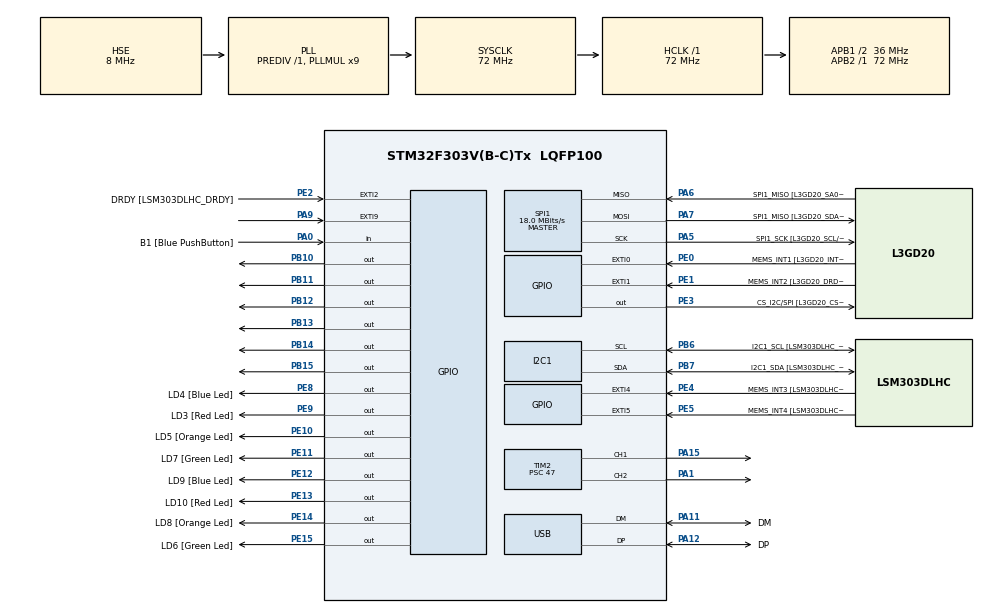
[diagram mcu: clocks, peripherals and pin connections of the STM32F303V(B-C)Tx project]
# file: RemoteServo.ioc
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I2C1.Timing-I2C=0x2000090E
Mcu.Family=STM32F3
Mcu.Name=STM32F303V(B-C)Tx
Mcu.Package=LQFP100
NVIC.EXTI9_5_IRQn=true\:0\:0\:false\:false\:true\:true\:true\:true
NVIC.PriorityGroup=NVIC_PRIORITYGROUP_0
PA0.GPIO_Label=B1 [Blue PushButton]
PA0.Signal=GPIO_Input
PA1.Signal=S_TIM2_CH2
PA11.GPIO_Label=DM
PA11.Mode=Device
PA11.Signal=USB_DM
PA12.GPIO_Label=DP
PA12.Mode=Device
PA12.Signal=USB_DP
PA13.GPIO_Label=SWDIO
PA13.Mode=Serial_Wire
PA13.Signal=SYS_JTMS-SWDIO
PA14.GPIO_Label=SWCLK
PA14.Mode=Serial_Wire
PA14.Signal=SYS_JTCK-SWCLK
PA15.Signal=S_TIM2_CH1_ETR
PA5.GPIO_Label=SPI1_SCK [L3GD20_SCL/SPC]
PA5.Mode=Full_Duplex_Master
PA5.Signal=SPI1_SCK
PA6.GPIO_Label=SPI1_MISO [L3GD20_SA0/SDO]
PA6.Mode=Full_Duplex_Master
PA6.Signal=SPI1_MISO
PA7.GPIO_Label=SPI1_MISO [L3GD20_SDA/SDI/SDO]
PA7.Mode=Full_Duplex_Master
PA7.Signal=SPI1_MOSI
PA9.Signal=GPXTI9
PB10.Signal=GPIO_Output
PB11.Signal=GPIO_Output
PB12.Signal=GPIO_Output
PB13.Signal=GPIO_Output
PB14.Signal=GPIO_Output
PB15.Signal=GPIO_Output
PB3.GPIO_Label=SWO
PB3.Signal=SYS_JTDO-TRACESWO
PB6.GPIO_Label=I2C1_SCL [LSM303DLHC_SCL]
PB6.GPIO_Pu=GPIO_PULLUP
PB6.Mode=I2C
PB6.Signal=I2C1_SCL
PB7.GPIO_Label=I2C1_SDA [LSM303DLHC_SDA]
PB7.GPIO_Pu=GPIO_PULLUP
PB7.Mode=I2C
PB7.Signal=I2C1_SDA
PC14-OSC32_IN.GPIO_Label=OSC32_IN
PC14-OSC32_IN.Signal=RCC_OSC32_IN
PC15-OSC32_OUT.GPIO_Label=OSC32_OUT
PC15-OSC32_OUT.Signal=RCC_OSC32_OUT
PE0.GPIO_Label=MEMS_INT1 [L3GD20_INT1]
PE0.GPIO_ModeDefaultEXTI=GPIO_MODE_EVT_RISING
PE0.Signal=GPXTI0
PE1.GPIO_Label=MEMS_INT2 [L3GD20_DRDY/INT2]
PE1.GPIO_ModeDefaultEXTI=GPIO_MODE_EVT_RISING
PE1.Signal=GPXTI1
PE10.GPIO_Label=LD5 [Orange Led]
PE10.Signal=GPIO_Output
PE11.GPIO_Label=LD7 [Green Led]
PE11.Signal=GPIO_Output
PE12.GPIO_Label=LD9 [Blue Led]
PE12.Signal=GPIO_Output
PE13.GPIO_Label=LD10 [Red Led]
PE13.Signal=GPIO_Output
PE14.GPIO_Label=LD8 [Orange Led]
PE14.Signal=GPIO_Output
PE15.GPIO_Label=LD6 [Green Led]
PE15.Signal=GPIO_Output
PE2.GPIO_Label=DRDY [LSM303DLHC_DRDY]
PE2.GPIO_ModeDefaultEXTI=GPIO_MODE_EVT_RISING
PE2.Signal=GPXTI2
PE3.GPIO_Label=CS_I2C/SPI [L3GD20_CS_I2C/SPI]
PE3.Signal=GPIO_Output
PE4.GPIO_Label=MEMS_INT3 [LSM303DLHC_INT1]
PE4.GPIO_ModeDefaultEXTI=GPIO_MODE_EVT_RISING
PE4.Signal=GPXTI4
PE5.GPIO_Label=MEMS_INT4 [LSM303DLHC_INT2]
PE5.GPIO_ModeDefaultEXTI=GPIO_MODE_EVT_RISING
PE5.Signal=GPXTI5
PE8.GPIO_Label=LD4 [Blue Led]
PE8.Signal=GPIO_Output
PE9.GPIO_Label=LD3 [Red Led]
PE9.Signal=GPIO_Output
PF0-OSC_IN.GPIO_Label=OSC_IN
PF0-OSC_IN.Mode=HSE-External-Oscillator
PF0-OSC_IN.Signal=RCC_OSC_IN
PF1-OSC_OUT.GPIO_Label=OSC_OUT
PF1-OSC_OUT.Mode=HSE-External-Oscillator
PF1-OSC_OUT.Signal=RCC_OSC_OUT
ProjectManager.HeapSize=0x200
ProjectManager.StackSize=0x400
ProjectManager.TargetToolchain=STM32CubeIDE
RCC.AHBFreq_Value=72000000
RCC.APB1CLKDivider=RCC_HCLK_DIV2
RCC.APB1Freq_Value=36000000
RCC.APB1TimFreq_Value=72000000
RCC.APB2Freq_Value=72000000
RCC.APB2TimFreq_Value=72000000
RCC.CortexFreq_Value=72000000
RCC.HCLKFreq_Value=72000000
RCC.HSE_VALUE=8000000
RCC.HSI_VALUE=8000000
RCC.LSE_VALUE=32768
RCC.PLLMUL=RCC_PLL_MUL9
RCC.PRESCALERUSB=RCC_USBCLKSOURCE_PLL_DIV1_5
RCC.SYSCLKFreq_VALUE=72000000
RCC.SYSCLKSourceVirtual=RCC_SYSCLKSOURCE_PLLCLK
RCC.USBFreq_Value=48000000
SH.S_TIM2_CH1_ETR.0=TIM2_CH1,PWM Generation1 CH1
SH.S_TIM2_CH2.0=TIM2_CH2,PWM Generation2 CH2
SPI1.BaudRatePrescaler=SPI_BAUDRATEPRESCALER_4
SPI1.BaudRatePrescaler-Full_Duplex_Master=SPI_BAUDRATEPRESCALER_2
SPI1.CalculateBaudRate=18.0 MBits/s
SPI1.CalculateBaudRate-Full_Duplex_Master=24.0 MBits/s
SPI1.Direction=SPI_DIRECTION_2LINES
SPI1.Mode=SPI_MODE_MASTER
SPI1.Mode-Full_Duplex_Master=SPI_MODE_MASTER
SPI1.VirtualType=VM_MASTER
TIM1.Prescaler=71
TIM2.Channel-PWM\ Generation1\ CH1=TIM_CHANNEL_1
TIM2.Channel-PWM\ Generation2\ CH2=TIM_CHANNEL_2
TIM2.Prescaler=47
VP_TIM1_VS_ClockSourceINT.Mode=Internal
VP_TIM2_VS_ClockSourceINT.Mode=Internal
board=STM32F3DISCOVERY

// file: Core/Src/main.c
/* USER CODE BEGIN Header */
/**
  ******************************************************************************
  * @file           : main.c
  * @brief          : Main program body
  ******************************************************************************
  * @attention
  *
  * Copyright (c) 2023 STMicroelectronics.
  * All rights reserved.
  *
  * This software is licensed under terms that can be found in the LICENSE file
  * in the root directory of this software component.
  * If no LICENSE file comes with this software, it is provided AS-IS.
  *
  ******************************************************************************
  */
/* USER CODE END Header */
#include "main.h"

/* USER CODE BEGIN Includes */
#include "lcd.h"

/* USER CODE END Includes */

I2C_HandleTypeDef hi2c1;

SPI_HandleTypeDef hspi1;

TIM_HandleTypeDef htim1;
TIM_HandleTypeDef htim2;

PCD_HandleTypeDef hpcd_USB_FS;

/* USER CODE BEGIN PV */

float v[2] = {0, 0};		//used as an angular position vector for the imu
uint8_t *led_register = ((uint8_t*)&(GPIOE->ODR)) + 1;	//allows the ODR to be set by equating bitmasks to this pointer

/* USER CODE END PV */

void SystemClock_Config(void);
static void MX_GPIO_Init(void);
static void MX_I2C1_Init(void);
static void MX_SPI1_Init(void);
static void MX_USB_PCD_Init(void);
static void MX_TIM1_Init(void);
static void MX_TIM2_Init(void);

int main(void)
{

	/* MCU Configuration--------------------------------------------------------*/

	/* Reset of all peripherals, Initializes the Flash interface and the Systick. */
	HAL_Init();

	/* Configure the system clock */
	SystemClock_Config();

	/* Initialize all configured peripherals */
	MX_GPIO_Init();
	MX_I2C1_Init();
	MX_SPI1_Init();
	MX_USB_PCD_Init();
	MX_TIM1_Init();
	MX_TIM2_Init();
	/* USER CODE BEGIN 2 */

	RCC->AHBENR |= RCC_AHBENR_GPIOEEN | RCC_AHBENR_GPIODEN;
	initialise_board();

	HAL_TIM_Base_Start(&htim1);			//for the IR receiver so it can determine the parts of the radio signal that corresponds to what data
	__HAL_TIM_SET_COUNTER(&htim1, 0);

	HAL_TIM_PWM_Start(&htim2, TIM_CHANNEL_1);	//begins PWM timer channels for the servos
	HAL_TIM_PWM_Start(&htim2, TIM_CHANNEL_2);

	// TIM 2 is setup with a prescaler that makes 1 count = 1 microsecond
	// Even with HAL, you can still set the values yourself
	TIM2->ARR = 20000; // 20000 = 20ms, which is the desired clock period for servos
	TIM2->CR1 |= TIM_CR1_ARPE; // this makes the timing not change until the next pulse is finished

	/* USER CODE END 2 */

	/* Infinite loop */
	while (1)
	{

	}
}

void SystemClock_Config(void)
{
  RCC_OscInitTypeDef RCC_OscInitStruct = {0};
  RCC_ClkInitTypeDef RCC_ClkInitStruct = {0};
  RCC_PeriphCLKInitTypeDef PeriphClkInit = {0};

  /** Initializes the RCC Oscillators according to the specified parameters
  * in the RCC_OscInitTypeDef structure.
  */
  RCC_OscInitStruct.OscillatorType = RCC_OSCILLATORTYPE_HSI|RCC_OSCILLATORTYPE_HSE;
  RCC_OscInitStruct.HSEState = RCC_HSE_ON;
  RCC_OscInitStruct.HSEPredivValue = RCC_HSE_PREDIV_DIV1;
  RCC_OscInitStruct.HSIState = RCC_HSI_ON;
  RCC_OscInitStruct.HSICalibrationValue = RCC_HSICALIBRATION_DEFAULT;
  RCC_OscInitStruct.PLL.PLLState = RCC_PLL_ON;
  RCC_OscInitStruct.PLL.PLLSource = RCC_PLLSOURCE_HSE;
  RCC_OscInitStruct.PLL.PLLMUL = RCC_PLL_MUL9;
  if (HAL_RCC_OscConfig(&RCC_OscInitStruct) != HAL_OK)
  {
    Error_Handler();
  }

  /** Initializes the CPU, AHB and APB buses clocks
  */
  RCC_ClkInitStruct.ClockType = RCC_CLOCKTYPE_HCLK|RCC_CLOCKTYPE_SYSCLK
                              |RCC_CLOCKTYPE_PCLK1|RCC_CLOCKTYPE_PCLK2;
  RCC_ClkInitStruct.SYSCLKSource = RCC_SYSCLKSOURCE_PLLCLK;
  RCC_ClkInitStruct.AHBCLKDivider = RCC_SYSCLK_DIV1;
  RCC_ClkInitStruct.APB1CLKDivider = RCC_HCLK_DIV2;
  RCC_ClkInitStruct.APB2CLKDivider = RCC_HCLK_DIV1;

  if (HAL_RCC_ClockConfig(&RCC_ClkInitStruct, FLASH_LATENCY_2) != HAL_OK)
  {
    Error_Handler();
  }
  PeriphClkInit.PeriphClockSelection = RCC_PERIPHCLK_USB|RCC_PERIPHCLK_I2C1
                              |RCC_PERIPHCLK_TIM1;
  PeriphClkInit.I2c1ClockSelection = RCC_I2C1CLKSOURCE_HSI;
  PeriphClkInit.USBClockSelection = RCC_USBCLKSOURCE_PLL_DIV1_5;
  PeriphClkInit.Tim1ClockSelection = RCC_TIM1CLK_HCLK;
  if (HAL_RCCEx_PeriphCLKConfig(&PeriphClkInit) != HAL_OK)
  {
    Error_Handler();
  }
}

static void MX_I2C1_Init(void)
{

  hi2c1.Instance = I2C1;
  hi2c1.Init.Timing = 0x2000090E;
  hi2c1.Init.OwnAddress1 = 0;
  hi2c1.Init.AddressingMode = I2C_ADDRESSINGMODE_7BIT;
  hi2c1.Init.DualAddressMode = I2C_DUALADDRESS_DISABLE;
  hi2c1.Init.OwnAddress2 = 0;
  hi2c1.Init.OwnAddress2Masks = I2C_OA2_NOMASK;
  hi2c1.Init.GeneralCallMode = I2C_GENERALCALL_DISABLE;
  hi2c1.Init.NoStretchMode = I2C_NOSTRETCH_DISABLE;
  if (HAL_I2C_Init(&hi2c1) != HAL_OK)
  {
    Error_Handler();
  }

  /** Configure Analogue filter
  */
  if (HAL_I2CEx_ConfigAnalogFilter(&hi2c1, I2C_ANALOGFILTER_ENABLE) != HAL_OK)
  {
    Error_Handler();
  }

  /** Configure Digital filter
  */
  if (HAL_I2CEx_ConfigDigitalFilter(&hi2c1, 0) != HAL_OK)
  {
    Error_Handler();
  }

}

static void MX_SPI1_Init(void)
{

  /* SPI1 parameter configuration*/
  hspi1.Instance = SPI1;
  hspi1.Init.Mode = SPI_MODE_MASTER;
  hspi1.Init.Direction = SPI_DIRECTION_2LINES;
  hspi1.Init.DataSize = SPI_DATASIZE_4BIT;
  hspi1.Init.CLKPolarity = SPI_POLARITY_LOW;
  hspi1.Init.CLKPhase = SPI_PHASE_1EDGE;
  hspi1.Init.NSS = SPI_NSS_SOFT;
  hspi1.Init.BaudRatePrescaler = SPI_BAUDRATEPRESCALER_4;
  hspi1.Init.FirstBit = SPI_FIRSTBIT_MSB;
  hspi1.Init.TIMode = SPI_TIMODE_DISABLE;
  hspi1.Init.CRCCalculation = SPI_CRCCALCULATION_DISABLE;
  hspi1.Init.CRCPolynomial = 7;
  hspi1.Init.CRCLength = SPI_CRC_LENGTH_DATASIZE;
  hspi1.Init.NSSPMode = SPI_NSS_PULSE_ENABLE;
  if (HAL_SPI_Init(&hspi1) != HAL_OK)
  {
    Error_Handler();
  }

}

static void MX_TIM1_Init(void)
{

  TIM_ClockConfigTypeDef sClockSourceConfig = {0};
  TIM_MasterConfigTypeDef sMasterConfig = {0};

  htim1.Instance = TIM1;
  htim1.Init.Prescaler = 71;
  htim1.Init.CounterMode = TIM_COUNTERMODE_UP;
  htim1.Init.Period = 65535;
  htim1.Init.ClockDivision = TIM_CLOCKDIVISION_DIV1;
  htim1.Init.RepetitionCounter = 0;
  htim1.Init.AutoReloadPreload = TIM_AUTORELOAD_PRELOAD_DISABLE;
  if (HAL_TIM_Base_Init(&htim1) != HAL_OK)
  {
    Error_Handler();
  }
  sClockSourceConfig.ClockSource = TIM_CLOCKSOURCE_INTERNAL;
  if (HAL_TIM_ConfigClockSource(&htim1, &sClockSourceConfig) != HAL_OK)
  {
    Error_Handler();
  }
  sMasterConfig.MasterOutputTrigger = TIM_TRGO_RESET;
  sMasterConfig.MasterOutputTrigger2 = TIM_TRGO2_RESET;
  sMasterConfig.MasterSlaveMode = TIM_MASTERSLAVEMODE_DISABLE;
  if (HAL_TIMEx_MasterConfigSynchronization(&htim1, &sMasterConfig) != HAL_OK)
  {
    Error_Handler();
  }

}

static void MX_TIM2_Init(void)
{

  TIM_ClockConfigTypeDef sClockSourceConfig = {0};
  TIM_MasterConfigTypeDef sMasterConfig = {0};
  TIM_OC_InitTypeDef sConfigOC = {0};

  htim2.Instance = TIM2;
  htim2.Init.Prescaler = 47;
  htim2.Init.CounterMode = TIM_COUNTERMODE_UP;
  htim2.Init.Period = 4294967295;
  htim2.Init.ClockDivision = TIM_CLOCKDIVISION_DIV1;
  htim2.Init.AutoReloadPreload = TIM_AUTORELOAD_PRELOAD_DISABLE;
  if (HAL_TIM_Base_Init(&htim2) != HAL_OK)
  {
    Error_Handler();
  }
  sClockSourceConfig.ClockSource = TIM_CLOCKSOURCE_INTERNAL;
  if (HAL_TIM_ConfigClockSource(&htim2, &sClockSourceConfig) != HAL_OK)
  {
    Error_Handler();
  }
  if (HAL_TIM_PWM_Init(&htim2) != HAL_OK)
  {
    Error_Handler();
  }
  sMasterConfig.MasterOutputTrigger = TIM_TRGO_RESET;
  sMasterConfig.MasterSlaveMode = TIM_MASTERSLAVEMODE_DISABLE;
  if (HAL_TIMEx_MasterConfigSynchronization(&htim2, &sMasterConfig) != HAL_OK)
  {
    Error_Handler();
  }
  sConfigOC.OCMode = TIM_OCMODE_PWM1;
  sConfigOC.Pulse = 0;
  sConfigOC.OCPolarity = TIM_OCPOLARITY_HIGH;
  sConfigOC.OCFastMode = TIM_OCFAST_DISABLE;
  if (HAL_TIM_PWM_ConfigChannel(&htim2, &sConfigOC, TIM_CHANNEL_1) != HAL_OK)
  {
    Error_Handler();
  }
  if (HAL_TIM_PWM_ConfigChannel(&htim2, &sConfigOC, TIM_CHANNEL_2) != HAL_OK)
  {
    Error_Handler();
  }
  HAL_TIM_MspPostInit(&htim2);

}

static void MX_USB_PCD_Init(void)
{

  hpcd_USB_FS.Instance = USB;
  hpcd_USB_FS.Init.dev_endpoints = 8;
  hpcd_USB_FS.Init.speed = PCD_SPEED_FULL;
  hpcd_USB_FS.Init.phy_itface = PCD_PHY_EMBEDDED;
  hpcd_USB_FS.Init.low_power_enable = DISABLE;
  hpcd_USB_FS.Init.battery_charging_enable = DISABLE;
  if (HAL_PCD_Init(&hpcd_USB_FS) != HAL_OK)
  {
    Error_Handler();
  }

}

static void MX_GPIO_Init(void)
{
  GPIO_InitTypeDef GPIO_InitStruct = {0};

  /* GPIO Ports Clock Enable */
  __HAL_RCC_GPIOE_CLK_ENABLE();
  __HAL_RCC_GPIOC_CLK_ENABLE();
  __HAL_RCC_GPIOF_CLK_ENABLE();
  __HAL_RCC_GPIOA_CLK_ENABLE();
  __HAL_RCC_GPIOB_CLK_ENABLE();

  /*Configure GPIO pin Output Level */
  HAL_GPIO_WritePin(GPIOE, CS_I2C_SPI_Pin|LD4_Pin|LD3_Pin|LD5_Pin
                          |LD7_Pin|LD9_Pin|LD10_Pin|LD8_Pin
                          |LD6_Pin, GPIO_PIN_RESET);

  /*Configure GPIO pin Output Level */
  HAL_GPIO_WritePin(GPIOB, GPIO_PIN_10|GPIO_PIN_11|GPIO_PIN_12|GPIO_PIN_13
                          |GPIO_PIN_14|GPIO_PIN_15, GPIO_PIN_RESET);

  /*Configure GPIO pins : DRDY_Pin MEMS_INT3_Pin MEMS_INT4_Pin MEMS_INT1_Pin
                           MEMS_INT2_Pin */
  GPIO_InitStruct.Pin = DRDY_Pin|MEMS_INT3_Pin|MEMS_INT4_Pin|MEMS_INT1_Pin
                          |MEMS_INT2_Pin;
  GPIO_InitStruct.Mode = GPIO_MODE_EVT_RISING;
  GPIO_InitStruct.Pull = GPIO_NOPULL;
  HAL_GPIO_Init(GPIOE, &GPIO_InitStruct);

  /*Configure GPIO pins : CS_I2C_SPI_Pin LD4_Pin LD3_Pin LD5_Pin
                           LD7_Pin LD9_Pin LD10_Pin LD8_Pin
                           LD6_Pin */
  GPIO_InitStruct.Pin = CS_I2C_SPI_Pin|LD4_Pin|LD3_Pin|LD5_Pin
                          |LD7_Pin|LD9_Pin|LD10_Pin|LD8_Pin
                          |LD6_Pin;
  GPIO_InitStruct.Mode = GPIO_MODE_OUTPUT_PP;
  GPIO_InitStruct.Pull = GPIO_NOPULL;
  GPIO_InitStruct.Speed = GPIO_SPEED_FREQ_LOW;
  HAL_GPIO_Init(GPIOE, &GPIO_InitStruct);

  /*Configure GPIO pin : B1_Pin */
  GPIO_InitStruct.Pin = B1_Pin;
  GPIO_InitStruct.Mode = GPIO_MODE_INPUT;
  GPIO_InitStruct.Pull = GPIO_NOPULL;
  HAL_GPIO_Init(B1_GPIO_Port, &GPIO_InitStruct);

  /*Configure GPIO pins : PB10 PB11 PB12 PB13
                           PB14 PB15 */
  GPIO_InitStruct.Pin = GPIO_PIN_10|GPIO_PIN_11|GPIO_PIN_12|GPIO_PIN_13
                          |GPIO_PIN_14|GPIO_PIN_15;
  GPIO_InitStruct.Mode = GPIO_MODE_OUTPUT_PP;
  GPIO_InitStruct.Pull = GPIO_NOPULL;
  GPIO_InitStruct.Speed = GPIO_SPEED_FREQ_LOW;
  HAL_GPIO_Init(GPIOB, &GPIO_InitStruct);

  /*Configure GPIO pin : PA9 */
  GPIO_InitStruct.Pin = GPIO_PIN_9;
  GPIO_InitStruct.Mode = GPIO_MODE_IT_RISING;
  GPIO_InitStruct.Pull = GPIO_NOPULL;
  HAL_GPIO_Init(GPIOA, &GPIO_InitStruct);

  /* EXTI interrupt init*/
  HAL_NVIC_SetPriority(EXTI9_5_IRQn, 0, 0);
  HAL_NVIC_EnableIRQ(EXTI9_5_IRQn);

}

/* USER CODE BEGIN 4 */
void HAL_GPIO_EXTI_Callback(uint16_t GPIO_Pin)		//an interrupt that triggers when the PA9 pin receives a falling edge
{													//The IR receiver passes on data to the pin

  if(GPIO_Pin == GPIO_PIN_9)
  {
    if (__HAL_TIM_GET_COUNTER(&htim1) > 8000)
    {
      tempCode = 0;
      bitIndex = 0;
    }
    else if (__HAL_TIM_GET_COUNTER(&htim1) > 1700)
    {
      tempCode |= (1UL << (31-bitIndex));   // write 1
      bitIndex++;
    }
    else if (__HAL_TIM_GET_COUNTER(&htim1) > 1000)
    {
      tempCode &= ~(1UL << (31-bitIndex));  // write 0
      bitIndex++;
    }
    if(bitIndex == 32)
    {
      cmdli = ~tempCode; // Logical inverted last 8 bits
      cmd = tempCode >> 8; // Second last 8 bits
      if(cmdli == cmd) // Check for errors
      {
        code = tempCode; // If no bit errors
        // Do your main work HERE

        switch (code)
        {
          case (16753245):
//            SSD1306_Puts ("CH-", &Font_16x26, 1);

            break;

          case (16736925):
//            SSD1306_Puts ("CH", &Font_16x26, 1);

            break;

          case (16769565):
//            SSD1306_Puts ("CH+", &Font_16x26, 1);

            break;

          case (16720605):
//            SSD1306_Puts ("|<<", &Font_16x26, 1);
			movement(v, v[0] - 1, v[1]);
          	HAL_Delay(10);
            break;

          case (16712445):
//            SSD1306_Puts (">>|", &Font_16x26, 1);
			movement(v, v[0] + 1, v[1]);
			HAL_Delay(10);
            break;

          case (16761405):
//            SSD1306_Puts (">||", &Font_16x26, 1);

            break;

          case (16769055):
//            SSD1306_Puts ("-", &Font_16x26, 1);
			movement(v, v[0], v[1] - 1);
			HAL_Delay(10);
            break;

          case (16754775):
//            SSD1306_Puts ("+", &Font_16x26, 1);
			movement(v, v[0], v[1] + 1);
			HAL_Delay(10);
            break;

          case (16748655):
//            SSD1306_Puts ("EQ", &Font_16x26, 1);

            break;

          case (16738455):
//            SSD1306_Puts ("0", &Font_16x26, 1);

            break;

          case (16750695):
//            SSD1306_Puts ("100+", &Font_16x26, 1);

            break;

          case (16756815):
//            SSD1306_Puts ("200+", &Font_16x26, 1);

            break;

          case (16724175):
//            SSD1306_Puts ("1", &Font_16x26, 1);

            break;

          case (16718055):
//            SSD1306_Puts ("2", &Font_16x26, 1);

            break;

          case (16743045):
//            SSD1306_Puts ("3", &Font_16x26, 1);

            break;

          case (16716015):
//            SSD1306_Puts ("4", &Font_16x26, 1);

            break;

          case (16726215):
//            SSD1306_Puts ("5", &Font_16x26, 1);

            break;

          case (16734885):
//            SSD1306_Puts ("6", &Font_16x26, 1);

            break;

          case (16728765):
//            SSD1306_Puts ("7", &Font_16x26, 1);

            break;

          case (16730805):
//            SSD1306_Puts ("8", &Font_16x26, 1);

            break;

          case (16732845):
//            SSD1306_Puts ("9", &Font_16x26, 1);

            break;

          default :
            break;
        }
      SSD1306_UpdateScreen();
      }
    bitIndex = 0;
    }
  __HAL_TIM_SET_COUNTER(&htim1, 0);
  }
}

void initialise_board() {
	// get a pointer to the second half word of the MODER register (for outputs pe8-15)
	uint16_t *led_output_registers = ((uint16_t *)&(GPIOE->MODER)) + 1;
	*led_output_registers = 0x5555;
}

void movement(float v[2], float yaw, float pitch){

	float c = 2700/180;

	if (yaw == 0){
		yaw += 1;
	}
	if (pitch == 0){
		pitch += 1;
	}
	TIM2->CCR1 = c*yaw;
	TIM2->CCR2 = c*pitch;

	v[0] = yaw;
	v[1] = pitch;

}
/* USER CODE END 4 */

void Error_Handler(void)
{
  __disable_irq();
  while (1)
  {
  }
}
